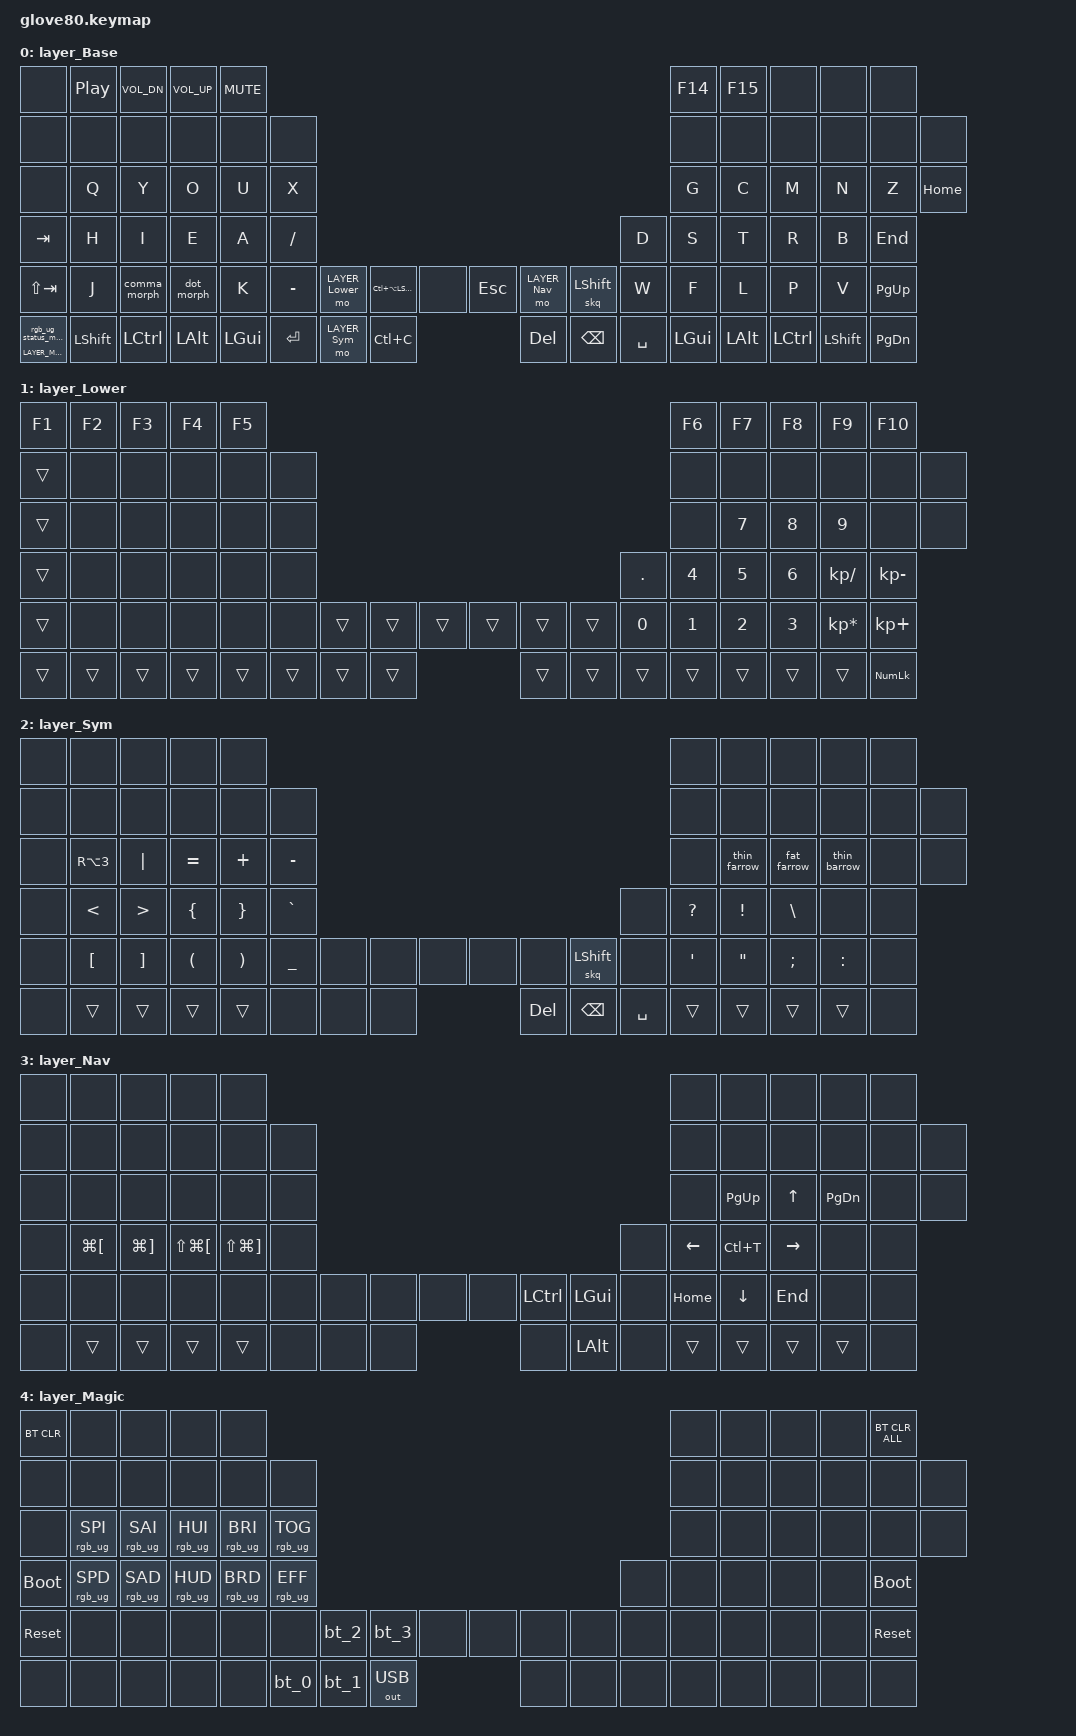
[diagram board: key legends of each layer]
#include <behaviors.dtsi>
/* Include all behaviour includes needed */
#include <dt-bindings/zmk/outputs.h>
#include <dt-bindings/zmk/keys.h>
#include <dt-bindings/zmk/bt.h>
#include <dt-bindings/zmk/rgb.h>

/* Automatically generated layer name #define */
#define LAYER_Base 0
#define LAYER_Lower 1
#define LAYER_Sym 2
#define LAYER_Nav 3
#define LAYER_Magic 4

/* To deal with the situation where there is no Lower layer, to keep &lower happy */
#ifndef LAYER_Lower
#define LAYER_Lower 0
#endif

/* Glove80 system behavior & macros */
/ {
    behaviors {
        // For the "layer" key, it'd nice to be able to use it as either a shift or a toggle.
        // Configure it as a tap dance, so the first tap (or hold) is a &mo and the second tap is a &to
        lower: lower {
            compatible = "zmk,behavior-tap-dance";
            label = "LAYER_TAP_DANCE";
            #binding-cells = <0>;
            tapping-term-ms = <200>;
            bindings = <&mo LAYER_Lower>, <&to LAYER_Lower>;
        };

        magic: magic {
            compatible = "zmk,behavior-hold-tap";
            label = "MAGIC_HOLD_TAP";
            #binding-cells = <2>;
            flavor = "tap-preferred";
            tapping-term-ms = <200>;
            bindings = <&mo>, <&rgb_ug_status_macro>;
        };
        skq: sticky_key_quick_release {
            compatible = "zmk,behavior-sticky-key";
            label = "STICKY_KEY_QUICK_RELEASE";
            #binding-cells = <1>;
            bindings = <&kp>;
            release-after-ms = <1000>;
            quick-release;
        };
        rpi: require_prior_idle {
            compatible = "zmk,behavior-hold-tap";
            label = "REQUIRE_PRIOR_IDLE_HOLD_TAP";
            #binding-cells = <2>;
            flavor = "tap-preferred";
            tapping-term-ms = <200>;
            quick-tap-ms = <200>;
            require-prior-idle-ms = <500>;
            bindings = <&kp>, <&kp>;
        };
        /* ------------------------------- mod-morphs ------------------------------- */
        // tap: comma | shift + tap: semicolon
        comma_morph: comma_morph {
            compatible = "zmk,behavior-mod-morph";
            label = "MOD_MORPH_COMMA";
            #binding-cells = <0>;
            bindings = <&kp COMMA>, <&kp SEMICOLON>;
            mods = <(MOD_LSFT|MOD_RSFT)>;
        };
        // tap: dot | shift + tap: colon
        dot_morph: dot_morph {
            compatible = "zmk,behavior-mod-morph";
            label = "MOD_MORPH_DOT";
            #binding-cells = <0>;
            bindings = <&kp DOT>, <&kp COLON>;
            mods = <(MOD_LSFT|MOD_RSFT)>;
        };
        // tap: paren | shift + tap: angle bracket
        lpar_morph: lpar_morph {
            compatible = "zmk,behavior-mod-morph";
            label = "MOD_MORPH_PAREN_L";
            #binding-cells = <0>;
            bindings = <&kp LPAR>, <&kp LT>;
            mods = <(MOD_LSFT|MOD_RSFT)>;
        };
        // tap: paren | shift + tap: angle bracket
        rpar_morph: rpar_morph {
            compatible = "zmk,behavior-mod-morph";
            label = "MOD_MORPH_PAREN_R";
            #binding-cells = <0>;
            bindings = <&kp RPAR>, <&kp GT>;
            mods = <(MOD_LSFT|MOD_RSFT)>;
        };
    };

    macros {
        rgb_ug_status_macro: rgb_ug_status_macro {
            label = "RGB_UG_STATUS";
            compatible = "zmk,behavior-macro";
            #binding-cells = <0>;
            bindings
                = <&rgb_ug RGB_STATUS>;
        };
        bt_0: bt_0 {
            label = "BT_0";
            compatible = "zmk,behavior-macro";
            #binding-cells = <0>;
            bindings
                = <&out OUT_BLE>,
                  <&bt BT_SEL 0>;
        };
        bt_1: bt_1 {
            label = "BT_1";
            compatible = "zmk,behavior-macro";
            #binding-cells = <0>;
            bindings
                = <&out OUT_BLE>,
                  <&bt BT_SEL 1>;
        };
        bt_2: bt_2 {
            label = "BT_2";
            compatible = "zmk,behavior-macro";
            #binding-cells = <0>;
            bindings
                = <&out OUT_BLE>,
                  <&bt BT_SEL 2>;
        };
        bt_3: bt_3 {
            label = "BT_3";
            compatible = "zmk,behavior-macro";
            #binding-cells = <0>;
            bindings
                = <&out OUT_BLE>,
                  <&bt BT_SEL 3>;
        };
        /* TODO: make fat arrows the shifted version of thin arrows */
        thin_farrow: thin_farrow {
            label = "THIN_FARROW";
            compatible = "zmk,behavior-macro";
            #binding-cells = <0>;
            wait-ms = <30>;
            tap-ms = <40>;
            bindings = <&kp MINUS &kp GT>;
        };
        thin_barrow: thin_barrow {
            label = "THIN_BARROW";
            compatible = "zmk,behavior-macro";
            #binding-cells = <0>;
            wait-ms = <30>;
            tap-ms = <40>;
            bindings = <&kp LT &kp MINUS >;
        };
        fat_farrow: fat_farrow {
            label = "FAT_FARROW";
            compatible = "zmk,behavior-macro";
            #binding-cells = <0>;
            wait-ms = <30>;
            tap-ms = <40>;
            bindings = <&kp EQUAL &kp GT>;
        };
    };
};

/ {
    keymap {
        compatible = "zmk,keymap";


        layer_Base {
            bindings = <
        &none   &kp C_PP  &kp C_VOL_DN  &kp C_VOL_UP  &kp C_MUTE                                                                                                    &kp F14   &kp F15     &none      &none      &none
        &none      &none         &none         &none       &none     &none                                                                                  &none     &none     &none     &none      &none      &none
        &none      &kp Q         &kp Y         &kp O       &kp U     &kp X                                                                                  &kp G     &kp C     &kp M     &kp N      &kp Z   &kp HOME
        &kp TAB      &kp H         &kp I         &kp E       &kp A  &kp FSLH                                                                                  &kp D     &kp S     &kp T     &kp R      &kp B    &kp END
        &kp LS(TAB)      &kp J  &comma_morph    &dot_morph       &kp K   &kp MINUS  &mo LAYER_Lower    &kp LC(LA(LSHFT))  &none  &kp ESC     &mo LAYER_Nav  &skq LSHFT  &kp W     &kp F     &kp L     &kp P      &kp V  &kp PG_UP
        &magic LAYER_Magic 0  &kp LSHFT      &kp LCTL      &kp LALT    &kp LGUI           &kp RET  &mo LAYER_Sym   &kp LC(C)  &kp DEL  &kp BSPC        &kp SPC         &kp LGUI  &kp LALT  &kp LCTL  &kp LSHFT  &kp PG_DN
            >;
        };

        layer_Lower {
            bindings = <
               &kp F1  &kp F2  &kp F3  &kp F4  &kp F5                                                                      &kp F6     &kp F7     &kp F8           &kp F9       &kp F10
               &trans   &none   &none   &none   &none   &none                                                    &none      &none      &none      &none            &none         &none
               &trans   &none   &none   &none   &none   &none                                                    &none     &kp N7     &kp N8     &kp N9            &none         &none
               &trans   &none   &none   &none   &none   &none                                                  &kp DOT     &kp N4     &kp N5     &kp N6     &kp KP_SLASH  &kp KP_MINUS
               &trans   &none   &none   &none   &none   &none  &trans  &trans  &trans  &trans  &trans  &trans   &kp N0     &kp N1     &kp N2     &kp N3  &kp KP_MULTIPLY   &kp KP_PLUS
               &trans  &trans  &trans  &trans  &trans          &trans  &trans  &trans  &trans  &trans  &trans              &trans     &trans     &trans           &trans    &kp KP_NUM
            >;
        };

        layer_Sym {
            bindings = <
              &none  &none  &none  &none  &none                                                                           &none   &none   &none   &none  &none
              &none  &none  &none  &none  &none  &none                                                            &none   &none   &none   &none   &none  &none
              &none  &kp RA(N3)  &kp PIPE  &kp EQUAL   &kp PLUS  &kp MINUS                                            &none   &thin_farrow   &fat_farrow   &thin_barrow   &none  &none
              &none      &kp LT    &kp GT   &kp LBRC   &kp RBRC  &kp GRAVE                                            &none   &kp QMARK   &kp EXCL   &kp BSLH   &none  &none
              &none    &kp LBKT  &kp RBKT   &kp LPAR   &kp RPAR  &kp UNDER  &none  &none  &none  &none  &none  &skq LSHFT  &none  &kp SQT   &kp DQT   &kp SEMI  &kp COLON   &none
              &none    &trans      &trans     &trans     &trans         &none  &none  &none  &kp DEL  &kp BSPC  &kp SPC         &trans  &trans  &trans  &trans  &none
            >;
        };

        layer_Nav {
            bindings = <
              &none  &none  &none  &none  &none                                                                           &none   &none   &none   &none  &none
              &none  &none  &none  &none  &none  &none                                                            &none   &none   &none   &none   &none  &none
              &none  &none  &none  &none  &none  &none                                                    &none   &kp PG_UP   &kp UP   &kp PG_DN   &none  &none
              &none  &kp LG(LBKT)  &kp LG(RBKT)  &kp LS(LG(LBKT))  &kp LS(LG(RBKT))  &none                &none   &kp LEFT   &kp LC(T)   &kp RIGHT   &none  &none
              &none    &none  &none  &none  &none &none  &none  &none  &none  &none  &kp LCTL  &kp LGUI  &none   &kp HOME   &kp DOWN   &kp END   &none  &none
              &none    &trans      &trans     &trans     &trans         &none  &none  &none  &none  &kp LALT  &none         &trans  &trans  &trans  &trans  &none
            >;
        };

        layer_Magic {
            bindings = <
  &bt BT_CLR            &none            &none            &none            &none                                                                                  &none   &none   &none   &none  &bt BT_CLR_ALL
       &none            &none            &none            &none            &none            &none                                                         &none   &none   &none   &none   &none           &none
       &none  &rgb_ug RGB_SPI  &rgb_ug RGB_SAI  &rgb_ug RGB_HUI  &rgb_ug RGB_BRI  &rgb_ug RGB_TOG                                                         &none   &none   &none   &none   &none           &none
 &bootloader  &rgb_ug RGB_SPD  &rgb_ug RGB_SAD  &rgb_ug RGB_HUD  &rgb_ug RGB_BRD  &rgb_ug RGB_EFF                                                         &none   &none   &none   &none   &none     &bootloader
  &sys_reset            &none            &none            &none            &none            &none   &bt_2   &bt_3         &none   &none   &none   &none   &none   &none   &none   &none   &none      &sys_reset
       &none            &none            &none            &none            &none                    &bt_0   &bt_1  &out OUT_USB   &none   &none   &none           &none   &none   &none   &none           &none
            >;
        };

    };
};
